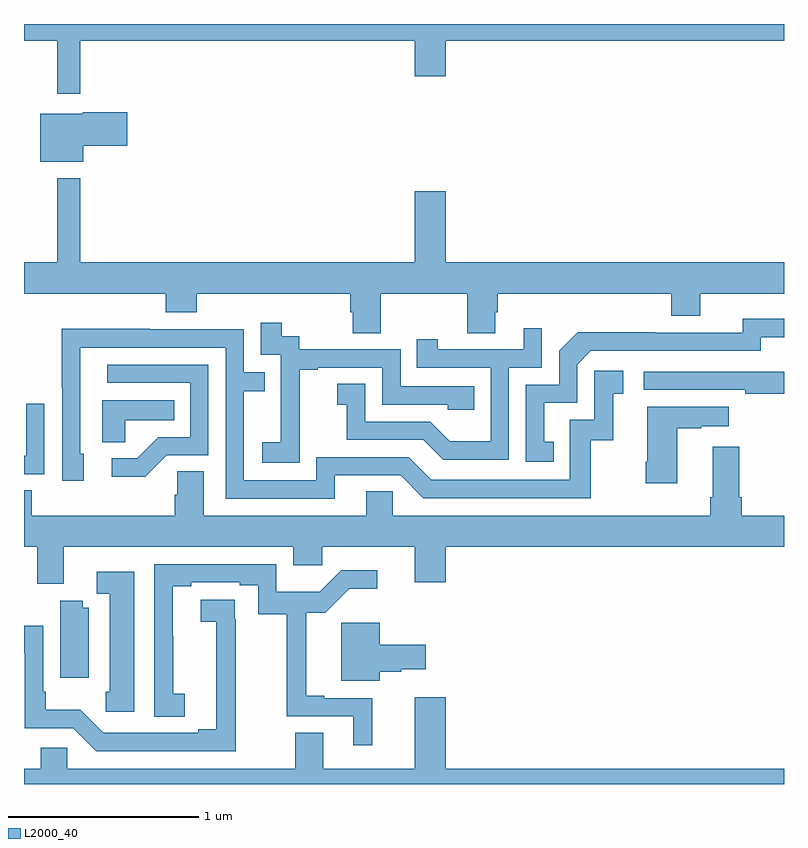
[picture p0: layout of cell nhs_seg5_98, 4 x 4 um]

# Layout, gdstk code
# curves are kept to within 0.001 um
import gdstk
lib = gdstk.Library(unit=1e-6, precision=1e-09)
def P(c, l, *ps):  # polygons
    for p in ps: c.add(gdstk.Polygon(p, *l))
L2000_40 = (2000, 40)

nhs_seg5_98 = lib.new_cell('nhs_seg5_98')
P(nhs_seg5_98, L2000_40, [(115.297,904.712),(117.056,904.712),(117.056,904.524),(117.22,904.524),(117.22,904.712),(119,904.712),(119,904.799),(115,904.799),(115,904.712),(115.175,904.712),(115.175,904.431),(115.297,904.431)],
  [(115.312,904.157),(115.543,904.157),(115.543,904.335),(115.308,904.335),(115.308,904.327),(115.085,904.327),(115.085,904.073),(115.312,904.073)],
  [(116.877,903.38),(117.334,903.38),(117.334,903.172),(117.481,903.172),(117.481,903.282),(117.494,903.282),(117.494,903.38),(118.406,903.38),(118.406,903.263),(118.558,903.263),(118.558,903.38),(119,903.38),(119,903.544),(117.22,903.544),(117.22,903.919),(117.056,903.919),(117.056,903.544),(115.297,903.544),(115.297,903.988),(115.175,903.988),(115.175,903.544),(115,903.544),(115,903.38),(115.745,903.38),(115.745,903.281),(115.91,903.281),(115.91,903.38),(116.717,903.38),(116.717,903.282),(116.729,903.282),(116.729,903.172),(116.877,903.172)],
  [(117.788,902.601),(117.739,902.601),(117.739,902.805),(117.912,902.805),(117.912,903.006),(117.984,903.078),(118.878,903.078),(118.878,903.15),(119,903.15),(119,903.247),(118.782,903.247),(118.782,903.174),(118.322,903.174),(118.322,903.176),(117.914,903.176),(117.816,903.078),(117.816,902.901),(117.642,902.901),(117.642,902.496),(117.788,902.496)],
  [(116.451,902.695),(116.45,902.695),(116.45,902.979),(116.545,902.979),(116.545,902.991),(116.886,902.991),(116.886,902.796),(117.231,902.796),(117.231,902.769),(117.371,902.769),(117.371,902.892),(116.982,902.892),(116.982,903.087),(116.448,903.087),(116.448,903.156),(116.356,903.156),(116.356,903.226),(116.247,903.226),(116.247,903.057),(116.352,903.057),(116.352,902.828),(116.351,902.828),(116.351,902.599),(116.253,902.599),(116.253,902.489),(116.451,902.489)],
  [(117.552,902.991),(117.726,902.991),(117.726,903.199),(117.629,903.199),(117.629,903.087),(117.178,903.087),(117.178,903.139),(117.067,903.139),(117.067,902.991),(117.456,902.991),(117.456,902.602),(117.242,902.602),(117.138,902.706),(116.796,902.706),(116.796,902.905),(116.649,902.905),(116.649,902.795),(116.698,902.795),(116.698,902.61),(117.101,902.61),(117.206,902.505),(117.552,902.505)],
  [(116.635,902.424),(116.982,902.424),(117.102,902.304),(117.982,902.304),(117.982,902.607),(118.1,902.607),(118.1,902.853),(118.153,902.853),(118.153,902.974),(118.002,902.974),(118.002,902.715),(117.873,902.715),(117.873,902.4),(117.144,902.4),(117.024,902.52),(116.538,902.52),(116.538,902.397),(116.157,902.397),(116.157,902.866),(116.267,902.866),(116.267,902.967),(116.157,902.967),(116.157,903.192),(115.661,903.192),(115.661,903.194),(115.198,903.194),(115.198,902.887),(115.2,902.887),(115.2,902.394),(115.315,902.394),(115.315,902.538),(115.296,902.538),(115.296,903.096),(116.061,903.096),(116.061,902.301),(116.635,902.301)],
  [(115.752,902.529),(115.971,902.529),(115.971,903.006),(115.437,903.006),(115.437,902.91),(115.875,902.91),(115.875,902.625),(115.706,902.625),(115.595,902.514),(115.461,902.514),(115.461,902.417),(115.639,902.417)],
  [(119,902.97),(118.263,902.97),(118.263,902.874),(118.795,902.874),(118.795,902.854),(119,902.854)],
  [(115.533,902.714),(115.79,902.714),(115.79,902.818),(115.412,902.818),(115.412,902.599),(115.533,902.599)],
  [(115.107,902.8),(115.011,902.8),(115.011,902.526),(115,902.526),(115,902.43),(115.107,902.43)],
  [(118.438,902.671),(118.565,902.671),(118.565,902.681),(118.708,902.681),(118.708,902.785),(118.28,902.785),(118.28,902.494),(118.273,902.494),(118.273,902.382),(118.438,902.382)],
  [(115.21,902.048),(116.417,902.048),(116.417,901.95),(116.569,901.95),(116.569,902.048),(117.056,902.048),(117.056,901.86),(117.22,901.86),(117.22,902.048),(119,902.048),(119,902.212),(118.778,902.212),(118.778,902.308),(118.765,902.308),(118.765,902.575),(118.625,902.575),(118.625,902.308),(118.613,902.308),(118.613,902.212),(116.94,902.212),(116.94,902.339),(116.801,902.339),(116.801,902.212),(115.945,902.212),(115.945,902.444),(115.806,902.444),(115.806,902.321),(115.793,902.321),(115.793,902.212),(115.04,902.212),(115.04,902.345),(115,902.345),(115,902.048),(115.07,902.048),(115.07,901.854),(115.21,901.854)],
  [(116.832,901.251),(116.581,901.251),(116.581,901.264),(116.486,901.264),(116.486,901.701),(116.585,901.701),(116.711,901.826),(116.86,901.826),(116.86,901.923),(116.67,901.923),(116.557,901.81),(116.328,901.81),(116.328,901.956),(115.686,901.956),(115.686,901.153),(115.846,901.153),(115.846,901.273),(115.785,901.273),(115.785,901.577),(115.783,901.577),(115.783,901.84),(115.879,901.84),(115.879,901.86),(116.135,901.86),(116.135,901.846),(116.232,901.846),(116.232,901.693),(116.383,901.693),(116.383,901.155),(116.732,901.155),(116.732,901.002),(116.832,901.002)],
  [(115.579,901.915),(115.383,901.915),(115.383,901.8),(115.451,901.8),(115.451,901.284),(115.429,901.284),(115.429,901.179),(115.579,901.179)],
  [(116.114,901.667),(116.108,901.667),(116.108,901.769),(115.929,901.769),(115.929,901.654),(116.011,901.654),(116.012,901.088),(115.916,901.088),(115.916,901.068),(115.416,901.068),(115.295,901.189),(115.114,901.189),(115.114,901.285),(115.101,901.285),(115.101,901.633),(115,901.633),(115,901.488),(115.005,901.488),(115.005,901.092),(115.26,901.092),(115.38,900.972),(116.114,900.972)],
  [(115.342,901.726),(115.31,901.726),(115.31,901.763),(115.19,901.763),(115.19,901.359),(115.342,901.359)],
  [(116.872,901.391),(116.985,901.391),(116.985,901.403),(117.115,901.403),(117.115,901.533),(116.872,901.533),(116.872,901.648),(116.669,901.648),(116.669,901.343),(116.872,901.343)],
  [(119,900.88),(117.22,900.88),(117.22,901.255),(117.056,901.255),(117.056,900.88),(116.575,900.88),(116.575,901.07),(116.428,901.07),(116.428,900.88),(115.227,900.88),(115.227,900.99),(115.088,900.99),(115.088,900.88),(115,900.88),(115,900.799),(119,900.799)])

lib.write_gds('nhs_seg5_98.gds')
